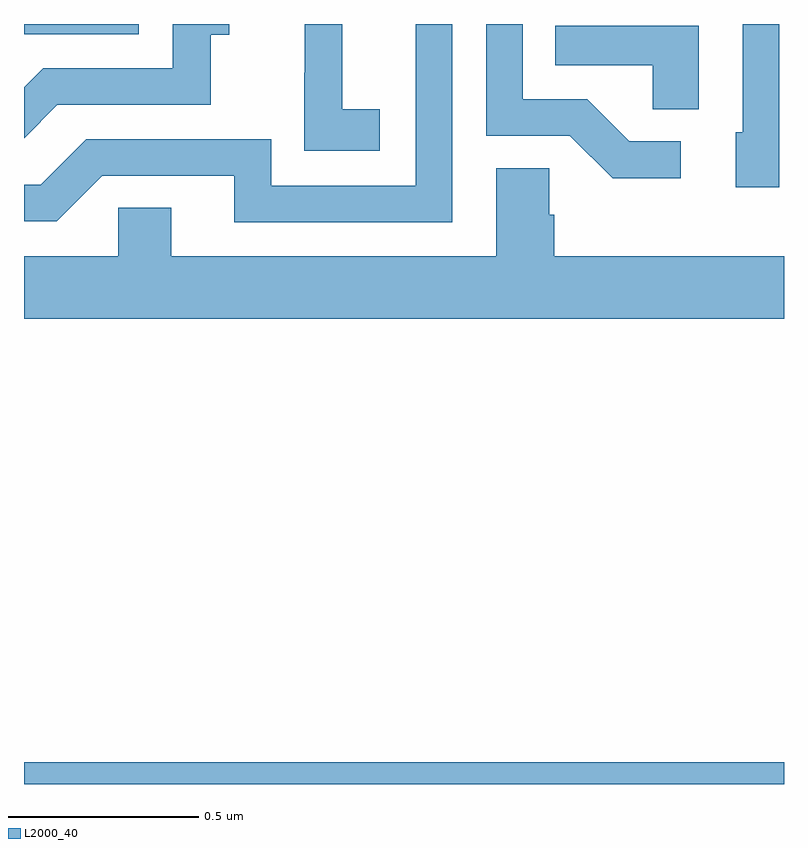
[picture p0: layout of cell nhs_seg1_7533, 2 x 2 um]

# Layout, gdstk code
import gdstk
lib = gdstk.Library(unit=1e-6, precision=1e-09)
def R(c, l, rs):  # rectangles x0, y0, x1, y1
    for r in rs: c.add(gdstk.rectangle(r[:2], r[2:], *l))
def P(c, l, *ps):  # polygons
    for p in ps: c.add(gdstk.Polygon(p, *l))
L2000_40 = (2000, 40)

nhs_seg1_7533 = lib.new_cell('nhs_seg1_7533')
R(nhs_seg1_7533, L2000_40, [(205,525.199,207,525.256), (205,527.172,205.302,527.199)])
P(nhs_seg1_7533, L2000_40, [(205.936,526.975),(205.838,526.975),(205.838,527.199),(205.739,527.199),(205.739,527.071),(205.738,527.071),(205.738,526.865),(205.936,526.865)],
  [(206.728,526.89),(206.593,526.89),(206.482,527.001),(206.313,527.001),(206.313,527.199),(206.217,527.199),(206.217,526.905),(206.436,526.905),(206.549,526.793),(206.728,526.793)],
  [(205.087,526.986),(205.491,526.986),(205.491,527.171),(205.54,527.171),(205.54,527.199),(205.392,527.199),(205.392,527.082),(205.05,527.082),(205,527.032),(205,526.899)],
  [(206.127,527.199),(206.031,527.199),(206.031,526.773),(205.65,526.773),(205.65,526.896),(205.164,526.896),(205.044,526.776),(205,526.776),(205,526.68),(205.086,526.68),(205.206,526.8),(205.553,526.8),(205.553,526.677),(206.127,526.677)],
  [(206.988,527.199),(206.892,527.199),(206.892,526.914),(206.873,526.914),(206.873,526.77),(206.988,526.77)],
  [(206.776,527.194),(206.398,527.194),(206.398,527.09),(206.655,527.09),(206.655,526.975),(206.776,526.975)],
  [(207,526.588),(206.396,526.588),(206.396,526.697),(206.382,526.697),(206.382,526.82),(206.243,526.82),(206.243,526.588),(205.387,526.588),(205.387,526.715),(205.248,526.715),(205.248,526.588),(205,526.588),(205,526.424),(207,526.424)])

lib.write_gds('nhs_seg1_7533.gds')
